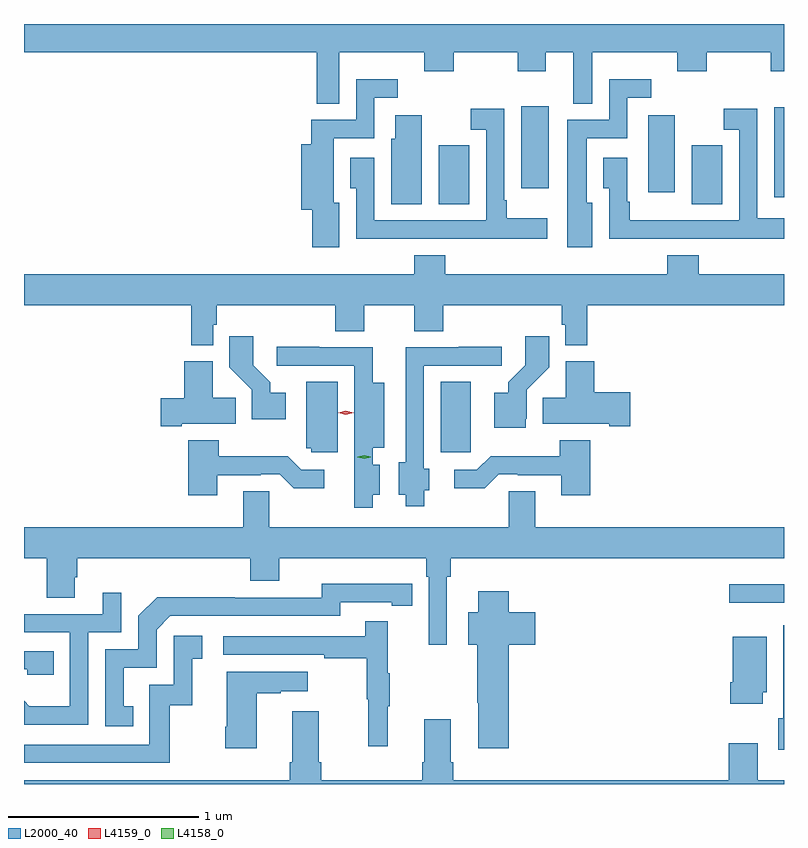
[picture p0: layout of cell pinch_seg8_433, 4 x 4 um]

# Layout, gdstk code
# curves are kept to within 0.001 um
import gdstk
lib = gdstk.Library(unit=1e-6, precision=1e-09)
def R(c, l, rs):  # rectangles x0, y0, x1, y1
    for r in rs: c.add(gdstk.rectangle(r[:2], r[2:], *l))
def P(c, l, *ps):  # polygons
    for p in ps: c.add(gdstk.Polygon(p, *l))
L2000_40 = (2000, 40)
L4158_0 = (4158, 0)
L4159_0 = (4159, 0)

pinch_seg8_433 = lib.new_cell('pinch_seg8_433')
R(pinch_seg8_433, L2000_40, [(313.179,1145.571,313.466,1145.668), (311.66,1146.363,311.818,1146.733), (311.648,1147.669,311.809,1147.98), (312.98,1147.669,313.141,1147.98), (313.415,1147.704,313.466,1148.179), (312.752,1147.731,312.892,1148.137), (312.083,1147.752,312.229,1148.185)])
P(pinch_seg8_433, L2000_40, [(311.125,1148.468),(311.572,1148.468),(311.572,1148.369),(311.727,1148.369),(311.727,1148.468),(312.064,1148.468),(312.064,1148.369),(312.211,1148.369),(312.211,1148.468),(312.356,1148.468),(312.356,1148.197),(312.457,1148.197),(312.457,1148.468),(312.904,1148.468),(312.904,1148.369),(313.059,1148.369),(313.059,1148.468),(313.396,1148.468),(313.396,1148.369),(313.466,1148.369),(313.466,1148.617),(309.466,1148.617),(309.466,1148.468),(311.007,1148.468),(311.007,1148.197),(311.125,1148.197)],
  [(312.457,1147.675),(312.427,1147.675),(312.427,1148.016),(312.642,1148.016),(312.642,1148.229),(312.766,1148.229),(312.766,1148.326),(312.546,1148.326),(312.546,1148.112),(312.326,1148.112),(312.326,1147.443),(312.457,1147.443)],
  [(311.125,1147.675),(311.095,1147.675),(311.095,1148.016),(311.31,1148.016),(311.31,1148.229),(311.434,1148.229),(311.434,1148.326),(311.214,1148.326),(311.214,1148.112),(310.977,1148.112),(310.977,1147.984),(310.925,1147.984),(310.925,1147.64),(310.982,1147.64),(310.982,1147.443),(311.125,1147.443)],
  [(312.767,1147.488),(313.133,1147.488),(313.133,1147.487),(313.466,1147.487),(313.466,1147.594),(313.326,1147.594),(313.326,1148.17),(313.149,1148.17),(313.149,1148.061),(313.23,1148.061),(313.23,1147.584),(312.884,1147.584),(312.884,1147.585),(312.655,1147.585),(312.655,1147.681),(312.642,1147.681),(312.642,1147.912),(312.515,1147.912),(312.515,1147.753),(312.546,1147.753),(312.546,1147.487),(312.767,1147.487)],
  [(311.435,1147.488),(311.801,1147.488),(311.801,1147.487),(312.22,1147.487),(312.22,1147.594),(312.007,1147.594),(312.007,1147.69),(311.994,1147.69),(311.994,1148.17),(311.817,1148.17),(311.817,1148.061),(311.898,1148.061),(311.898,1147.584),(311.31,1147.584),(311.31,1147.912),(311.183,1147.912),(311.183,1147.753),(311.214,1147.753),(311.214,1147.487),(311.435,1147.487)],
  [(311.56,1148.137),(311.42,1148.137),(311.42,1148.013),(311.399,1148.013),(311.399,1147.669),(311.56,1147.669)],
  [(310.461,1147.035),(310.481,1147.035),(310.481,1147.136),(311.105,1147.136),(311.105,1147),(311.257,1147),(311.257,1147.136),(311.519,1147.136),(311.519,1147),(311.672,1147),(311.672,1147.136),(312.295,1147.136),(312.295,1147.035),(312.315,1147.035),(312.315,1146.926),(312.431,1146.926),(312.431,1147.136),(313.466,1147.136),(313.466,1147.3),(313.016,1147.3),(313.016,1147.399),(312.851,1147.399),(312.851,1147.3),(311.684,1147.3),(311.684,1147.399),(311.519,1147.399),(311.519,1147.3),(309.466,1147.3),(309.466,1147.136),(310.345,1147.136),(310.345,1146.926),(310.461,1146.926)],
  [(312.106,1146.54),(312.111,1146.54),(312.111,1146.691),(312.23,1146.81),(312.23,1146.973),(312.105,1146.973),(312.105,1146.821),(312.014,1146.731),(312.014,1146.676),(311.942,1146.676),(311.942,1146.491),(312.106,1146.491)],
  [(310.843,1146.676),(310.762,1146.676),(310.762,1146.731),(310.672,1146.821),(310.672,1146.973),(310.546,1146.973),(310.546,1146.81),(310.665,1146.691),(310.665,1146.536),(310.843,1146.536)],
  [(311.302,1146.14),(311.338,1146.14),(311.338,1146.298),(311.302,1146.298),(311.302,1146.386),(311.362,1146.386),(311.362,1146.73),(311.302,1146.73),(311.302,1146.915),(311.021,1146.915),(311.021,1146.918),(310.797,1146.918),(310.797,1146.819),(311.204,1146.819),(311.204,1146.072),(311.302,1146.072)],
  [(311.572,1146.162),(311.599,1146.162),(311.599,1146.276),(311.571,1146.276),(311.571,1146.819),(311.98,1146.819),(311.98,1146.918),(311.755,1146.918),(311.755,1146.915),(311.475,1146.915),(311.475,1146.311),(311.438,1146.311),(311.438,1146.14),(311.474,1146.14),(311.474,1146.08),(311.572,1146.08)],
  [(312.658,1146.678),(312.467,1146.678),(312.467,1146.841),(312.317,1146.841),(312.317,1146.65),(312.196,1146.65),(312.196,1146.512),(312.545,1146.512),(312.545,1146.5),(312.658,1146.5)],
  [(310.297,1146.512),(310.58,1146.512),(310.58,1146.65),(310.459,1146.65),(310.459,1146.841),(310.31,1146.841),(310.31,1146.647),(310.185,1146.647),(310.185,1146.5),(310.297,1146.5)],
  [(311.116,1146.733),(310.952,1146.733),(310.952,1146.384),(310.977,1146.384),(310.977,1146.363),(311.116,1146.363)],
  [(310.483,1146.243),(310.712,1146.243),(310.712,1146.246),(310.812,1146.246),(310.885,1146.173),(311.047,1146.173),(311.047,1146.27),(310.926,1146.27),(310.853,1146.343),(310.491,1146.343),(310.491,1146.427),(310.331,1146.427),(310.331,1146.138),(310.483,1146.138)],
  [(312.446,1146.427),(312.286,1146.427),(312.286,1146.343),(311.923,1146.343),(311.85,1146.27),(311.73,1146.27),(311.73,1146.173),(311.891,1146.173),(311.964,1146.246),(312.064,1146.246),(312.064,1146.243),(312.293,1146.243),(312.293,1146.138),(312.446,1146.138)],
  [(311.692,1145.708),(311.711,1145.708),(311.711,1145.804),(313.466,1145.804),(313.466,1145.968),(312.157,1145.968),(312.157,1146.158),(312.018,1146.158),(312.018,1145.968),(310.758,1145.968),(310.758,1146.158),(310.619,1146.158),(310.619,1145.968),(309.466,1145.968),(309.466,1145.804),(309.586,1145.804),(309.586,1145.596),(309.733,1145.596),(309.733,1145.706),(309.746,1145.706),(309.746,1145.804),(310.658,1145.804),(310.658,1145.687),(310.81,1145.687),(310.81,1145.804),(311.582,1145.804),(311.582,1145.708),(311.595,1145.708),(311.595,1145.349),(311.692,1145.349)],
  [(310.04,1145.025),(309.991,1145.025),(309.991,1145.229),(310.164,1145.229),(310.164,1145.43),(310.236,1145.502),(311.13,1145.502),(311.13,1145.574),(311.402,1145.574),(311.402,1145.554),(311.51,1145.554),(311.51,1145.67),(311.034,1145.671),(311.034,1145.598),(310.574,1145.598),(310.574,1145.6),(310.166,1145.6),(310.068,1145.502),(310.068,1145.325),(309.894,1145.325),(309.894,1144.92),(310.04,1144.92)],
  [(312.017,1145.351),(312.157,1145.351),(312.157,1145.521),(312.017,1145.521),(312.017,1145.632),(311.858,1145.632),(311.858,1145.521),(311.804,1145.521),(311.804,1145.351),(311.851,1145.351),(311.851,1145.044),(311.858,1145.044),(311.858,1144.806),(312.017,1144.806)],
  [(309.804,1145.415),(309.978,1145.415),(309.978,1145.623),(309.881,1145.623),(309.881,1145.511),(309.466,1145.511),(309.466,1145.415),(309.708,1145.415),(309.708,1145.026),(309.494,1145.026),(309.466,1145.054),(309.466,1144.929),(309.804,1144.929)],
  [(311.381,1145.027),(311.392,1145.027),(311.392,1145.201),(311.381,1145.201),(311.381,1145.473),(311.263,1145.473),(311.263,1145.394),(310.515,1145.394),(310.515,1145.298),(311.047,1145.298),(311.047,1145.278),(311.271,1145.278),(311.271,1145.064),(311.278,1145.064),(311.278,1144.815),(311.381,1144.815)],
  [(313.466,1145.452),(313.463,1145.452),(313.463,1144.962),(313.436,1144.962),(313.436,1144.796),(313.466,1144.796)],
  [(310.234,1145.031),(310.352,1145.031),(310.352,1145.277),(310.405,1145.277),(310.405,1145.398),(310.254,1145.398),(310.254,1145.139),(310.125,1145.139),(310.125,1144.824),(309.466,1144.824),(309.466,1144.728),(310.234,1144.728)],
  [(313.354,1145.1),(313.375,1145.1),(313.375,1145.392),(313.196,1145.392),(313.196,1145.152),(313.184,1145.152),(313.184,1145.04),(313.354,1145.04)],
  [(309.623,1145.316),(309.466,1145.316),(309.466,1145.22),(309.483,1145.22),(309.483,1145.193),(309.623,1145.193)],
  [(310.69,1145.095),(310.817,1145.095),(310.817,1145.105),(310.96,1145.105),(310.96,1145.209),(310.532,1145.209),(310.532,1144.918),(310.525,1144.918),(310.525,1144.806),(310.69,1144.806)],
  [(313.466,1144.636),(313.327,1144.636),(313.327,1144.831),(313.175,1144.831),(313.175,1144.636),(311.726,1144.636),(311.726,1144.732),(311.713,1144.732),(311.713,1144.957),(311.573,1144.957),(311.573,1144.732),(311.561,1144.732),(311.561,1144.636),(311.03,1144.636),(311.03,1144.732),(311.017,1144.732),(311.017,1144.999),(310.877,1144.999),(310.877,1144.732),(310.865,1144.732),(310.865,1144.636),(309.466,1144.636),(309.466,1144.617),(313.466,1144.617)])
P(pinch_seg8_433, L4158_0, [(311.256,1146.328),(311.222,1146.338),(311.221,1146.338),(311.222,1146.339),(311.256,1146.348),(311.291,1146.339),(311.291,1146.338),(311.291,1146.338)])
P(pinch_seg8_433, L4159_0, [(311.16,1146.561),(311.119,1146.571),(311.119,1146.571),(311.119,1146.571),(311.16,1146.581),(311.201,1146.571),(311.201,1146.571),(311.201,1146.571)])

lib.write_gds('pinch_seg8_433.gds')
